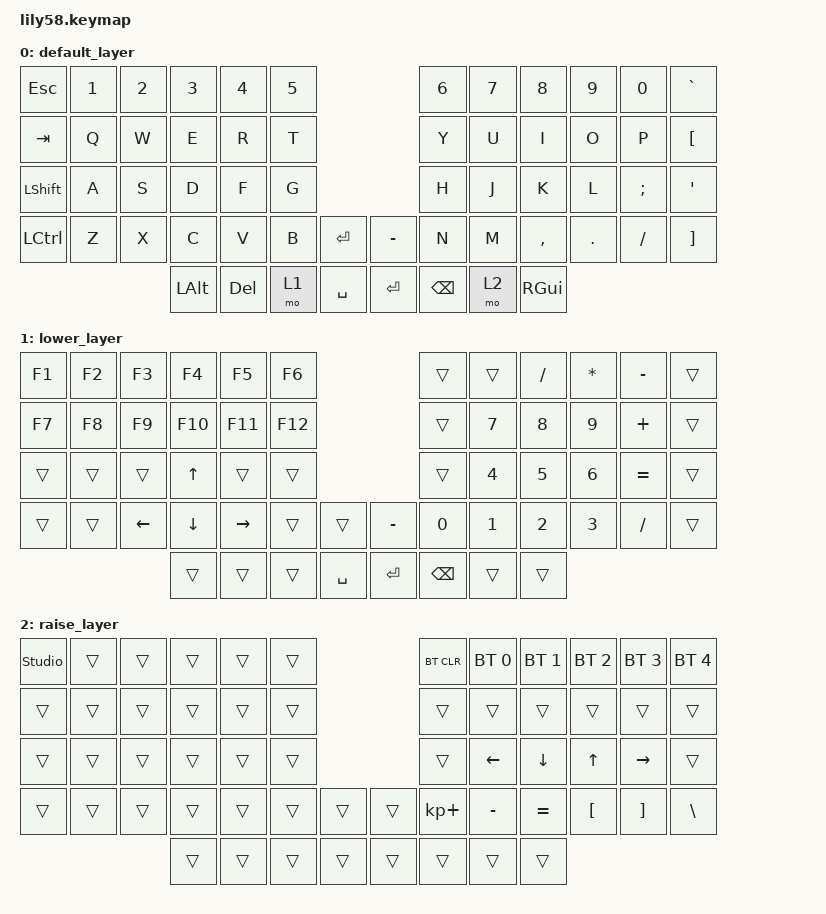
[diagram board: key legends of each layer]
/*
 * Copyright (c) 2020 The ZMK Contributors
 *
 * SPDX-License-Identifier: MIT
 */

#include <behaviors.dtsi>
#include <dt-bindings/zmk/bt.h>
#include <dt-bindings/zmk/keys.h>

/ {
    keymap {
        compatible = "zmk,keymap";

        default_layer {
            // ------------------------------------------------------------------------------------------------------------
            // |  ESC  |  1  |  2  |  3   |  4   |  5   |                   |  6   |  7    |  8    |  9   |   0   |   `   |
            // |  TAB  |  Q  |  W  |  E   |  R   |  T   |                   |  Y   |  U    |  I    |  O   |   P   |   -   |
            // |  CTRL |  A  |  S  |  D   |  F   |  G   |                   |  H   |  J    |  K    |  L   |   ;   |   '   |
            // | SHIFT |  Z  |  X  |  C   |  V   |  B   |   "["  |  |  "]"  |  N   |  M    |  ,    |  .   |   /   | SHIFT |
            //                     | ALT  | GUI  | LOWER|  SPACE |  | ENTER | RAISE| BSPC  | GUI   |

            bindings = <
&kp ESC         &kp N1  &kp N2  &kp N3    &kp N4      &kp N5                          &kp N6         &kp N7  &kp N8     &kp N9   &kp N0    &kp GRAVE
&kp TAB         &kp Q   &kp W   &kp E     &kp R       &kp T                           &kp Y          &kp U   &kp I      &kp O    &kp P     &kp LEFT_BRACKET
&kp LEFT_SHIFT  &kp A   &kp S   &kp D     &kp F       &kp G                           &kp H          &kp J   &kp K      &kp L    &kp SEMI  &kp SQT
&kp LCTRL       &kp Z   &kp X   &kp C     &kp V       &kp B   &kp ENTER    &kp MINUS  &kp N          &kp M   &kp COMMA  &kp DOT  &kp FSLH  &kp RIGHT_BRACKET
                                &kp LALT  &kp DELETE  &mo 1   &kp SPACE    &kp RET    &kp BACKSPACE  &mo 2   &kp RGUI
            >;
        };

        lower_layer {
            // ------------------------------------------------------------------------------------------------------------
            // |       | BRDn | BRUp |  MUT |  Vo- |  Vo+ |                   |      |       |       |      |       |       |
            // |  F1   |  F2  |  F3  |  F4  |  F5  |  F6  |                   |  F7  |  F8   |  F9   |  F10 |  F11  |  F12  |
            // |   `   |  !   |  @   |  #   |  $   |  %   |                   |  ^   |  &    |  *    |  (   |   )   |   ~   |
            // |       |      |      |      |      |      |        |  |       |      |  _    |  +    |  {   |   }   |  "|"  |
            //                       |      |      |      |        |  |       |      |       |       |

            bindings = <
&kp F1  &kp F2  &kp F3          &kp F4        &kp F5     &kp F6                           &trans         &trans        &kp SLASH     &kp ASTERISK  &kp MINUS  &trans
&kp F7  &kp F8  &kp F9          &kp F10       &kp F11    &kp F12                          &trans         &kp NUMBER_7  &kp NUMBER_8  &kp NUMBER_9  &kp PLUS   &trans
&trans  &trans  &trans          &kp UP_ARROW  &trans     &trans                           &trans         &kp NUMBER_4  &kp N5        &kp NUMBER_6  &kp EQUAL  &trans
&trans  &trans  &kp LEFT_ARROW  &kp DOWN      &kp RIGHT  &trans   &trans       &kp MINUS  &kp NUMBER_0   &kp NUMBER_1  &kp NUMBER_2  &kp NUMBER_3  &kp SLASH  &trans
                                &trans        &trans     &trans   &kp SPACE    &kp ENTER  &kp BACKSPACE  &trans        &trans
            >;
        };

        raise_layer {
            // ------------------------------------------------------------------------------------------------------------
            // |       |     |     |      |      |      |                   | Bt clear | Bt 0 | Bt 1 | Bt 2 | Bt 3 | Bt 4 |
            // |   `   |  1  |  2  |  3   |  4   |  5   |                   |          |      |      |      |      |      |
            // |   F1  |  F2 |  F3 |  F4  |  F5  |  F6  |                   |          |  <-  |  v   |  ^   |  ->  |      |
            // |   F7  |  F8 |  F9 |  F10 |  F11 |  F12 |        |  |       |    +     |  -   |  =   |  [   |  ]   |  \   |
            //                     |      |      |      |        |  |       |          |      |      |

            bindings = <
&studio_unlock  &trans  &trans  &trans  &trans  &trans                    &bt BT_CLR   &bt BT_SEL 0  &bt BT_SEL 1  &bt BT_SEL 2  &bt BT_SEL 3  &bt BT_SEL 4
&trans          &trans  &trans  &trans  &trans  &trans                    &trans       &trans        &trans        &trans        &trans        &trans
&trans          &trans  &trans  &trans  &trans  &trans                    &trans       &kp LEFT      &kp DOWN      &kp UP        &kp RIGHT     &trans
&trans          &trans  &trans  &trans  &trans  &trans  &trans    &trans  &kp KP_PLUS  &kp MINUS     &kp EQUAL     &kp LBKT      &kp RBKT      &kp BSLH
                                &trans  &trans  &trans  &trans    &trans  &trans       &trans        &trans
            >;
        };
    };
};
